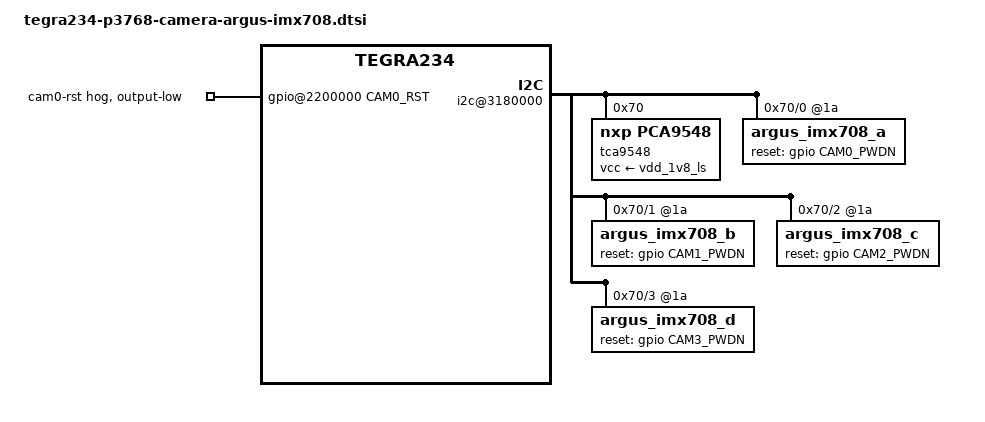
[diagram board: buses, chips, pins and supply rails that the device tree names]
/*
 * Copyright (c) 2022, NVIDIA CORPORATION.  All rights reserved.
 * Copyright (c) 2023, RidgeRun.  All rights reserved.
 *
 * This program is free software; you can redistribute it and/or modify
 * it under the terms of the GNU General Public License as published by
 * the Free Software Foundation; either version 2 of the License, or
 * (at your option) any later version.
 *
 * This program is distributed in the hope that it will be useful, but WITHOUT
 * ANY WARRANTY; without even the implied warranty of MERCHANTABILITY or
 * FITNESS FOR A PARTICULAR PURPOSE.  See the GNU General Public License for
 * more details.
 *
 * You should have received a copy of the GNU General Public License
 * along with this program.  If not, see <http://www.gnu.org/licenses/>.
 */

#include <dt-bindings/tegra234-p3767-0000-common.h>
#include "tegra234-camera-argus-imx708.dtsi"

#define CAM0_RST        TEGRA234_MAIN_GPIO(H, 3)
#define CAM0_PWDN	    TEGRA234_MAIN_GPIO(H, 6)
#define CAM1_PWDN	    TEGRA234_MAIN_GPIO(AC, 0)
#define CAM2_PWDN	    TEGRA234_MAIN_GPIO(N, 1)
#define CAM3_PWDN	    TEGRA234_MAIN_GPIO(H, 0)
#define CAM_I2C_MUX 	TEGRA234_AON_GPIO(CC, 3)

/ {
	fragment-camera-imx708@0 {
		target-path = "/";
		__overlay__ {
			bus@0 {
				i2c@3180000 {
					tca9548@70 {
						compatible = "nxp,pca9548";
						reg = <0x70>;
						#address-cells = <1>;
						#size-cells = <0>;
						skip_mux_detect = "yes";
						/*force_bus_start = <0x1E>; */
						vcc-supply = <&vdd_1v8_ls>;
						status = "okay";
						i2c@0 {
							reg = <0>;
							i2c-mux,deselect-on-exit;
							#address-cells = <1>;
							#size-cells = <0>;
							argus_imx708_a@1a {
								reset-gpios = <&gpio CAM0_PWDN GPIO_ACTIVE_HIGH>;
							};
						};
						i2c@1 {
							reg = <1>;
							i2c-mux,deselect-on-exit;
							#address-cells = <1>;
							#size-cells = <0>;
							argus_imx708_b@1a {
								reset-gpios = <&gpio CAM1_PWDN GPIO_ACTIVE_HIGH>;
							};
						};						
						i2c@2 {
							reg = <2>;
							i2c-mux,deselect-on-exit;
							#address-cells = <1>;
							#size-cells = <0>;
							argus_imx708_c@1a {
								reset-gpios = <&gpio CAM2_PWDN GPIO_ACTIVE_HIGH>;
							};
						};						
						i2c@3 {
							reg = <3>;
							i2c-mux,deselect-on-exit;
							#address-cells = <1>;
							#size-cells = <0>;
							argus_imx708_d@1a {
								reset-gpios = <&gpio CAM3_PWDN GPIO_ACTIVE_HIGH>;
							};
						};
					};
				};

				gpio@2200000 {
					camera-control-output-low {
						gpio-hog;
						output-low;
						gpios = <CAM0_RST 0>;
						label = "cam0-rst";
					};
				};
			};
		};
	};
};
